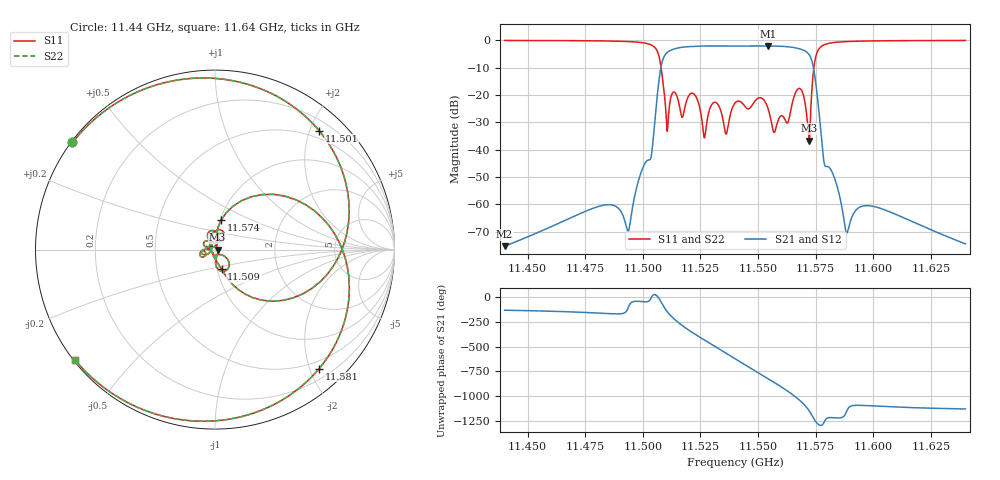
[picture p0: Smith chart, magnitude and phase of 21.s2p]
! This file was generated by CST Filter Designer 3D
! Date:  06.11.2025 15:50:02
# MHZ S RI R 50
!  Frequency  Re(S11)  Im(S11)  Re(S21)  Im(S21)  Re(S12)  Im(S12)  Re(S22)  Im(S22)
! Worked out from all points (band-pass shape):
!   1001 points, 11.44 GHz to 11.64 GHz, reference 50 ohm
!   highest |S21| = -2.07 dB at 11.554 GHz (marker M1); lowest = -75.3 dB at 11.44 GHz (marker M2)
!   |S21| within 3 dB of the highest: 11.51 GHz to 11.572 GHz (62.12 MHz wide, 0.538 % of centre)
!   lowest |S11| = -36.7 dB at 11.572 GHz (marker M3), VSWR 1.03, Z = 51.5 - j0.0551 ohm
!   |S11| at or under -10 dB: 11.508 GHz to 11.574 GHz (66.32 MHz wide, 0.575 % of centre)
!   |S22| runs from -36.7 to -0.1 dB; largest |S21 - S12| = 0
!   S11 on the Smith chart (normalised r, x): 11.44 GHz: 0.00, +0.33; 11.501 GHz: 0.36, +2.15; 11.509 GHz: 1.05, -0.23; 11.574 GHz: 1.01, +0.35; 11.581 GHz: 0.36, -2.16; 11.64 GHz: 0.00, -0.35
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11440  -0.794 0.5971  -0.000107 -0.000133  -0.000107 -0.000133  -0.794 0.5971
11473.4  -0.5175 0.8355  -0.0006 -0.000346  -0.0006 -0.000346  -0.5175 0.8355
11493.6  0.0664 0.9465  -9.26e-05 -0.000305  -9.26e-05 -0.000305  0.0664 0.9465
11501.4  0.5796 0.663  0.00431 -0.00421  0.00431 -0.00421  0.5796 0.663
11506.8  0.4902 -0.2462  0.1562 -0.00599  0.1562 -0.00599  0.4902 -0.2462
11509.2  0.0363 -0.1098  -0.0719 -0.4964  -0.0719 -0.4964  0.0363 -0.1098
11516.8  0.0105 0.039  0.1158 0.7344  0.1158 0.7344  0.0105 0.039
11522.4  0.000407 0.1021  0.766 -0.11  0.766 -0.11  0.000407 0.1021
11528.8  -0.0499 0.0125  -0.1443 -0.7733  -0.1443 -0.7733  -0.0499 0.0125
11534.4  -0.0237 0.0346  -0.7862 -0.00118  -0.7862 -0.00118  -0.0237 0.0346
11540  -0.0658 -0.027  -0.1335 0.7722  -0.1335 0.7722  -0.0658 -0.027
11547  -0.0532 -0.0302  0.7869 -0.00189  0.7869 -0.00189  -0.0532 -0.0302
11554.2  -0.0588 0.00107  -0.1522 -0.7727  -0.1522 -0.7727  -0.0588 0.00107
11559.6  -0.00701 -0.0397  -0.7783 -0.017  -0.7783 -0.017  -0.00701 -0.0397
11564.8  0.0567 -0.0394  -0.1161 0.7364  -0.1161 0.7364  0.0567 -0.0394
11572.2  0.0147 -0.000535  0.198 -0.5066  0.198 -0.5066  0.0147 -0.000535
11573.4  0.0187 0.1285  -0.1694 -0.3804  -0.1694 -0.3804  0.0187 0.1285
11573.6  0.0352 0.1655  -0.2069 -0.3276  -0.2069 -0.3276  0.0352 0.1655
11580.8  0.5808 -0.6625  -0.00352 -0.00322  -0.00352 -0.00322  0.5808 -0.6625
11588.6  0.072 -0.9459  0.000117 -0.000273  0.000117 -0.000273  0.072 -0.9459
11606.8  -0.4791 -0.8562  0.000657 -0.000335  0.000657 -0.000335  -0.4791 -0.8562
11640  -0.7804 -0.6139  0.000122 -0.000144  0.000122 -0.000144  -0.7804 -0.6139
